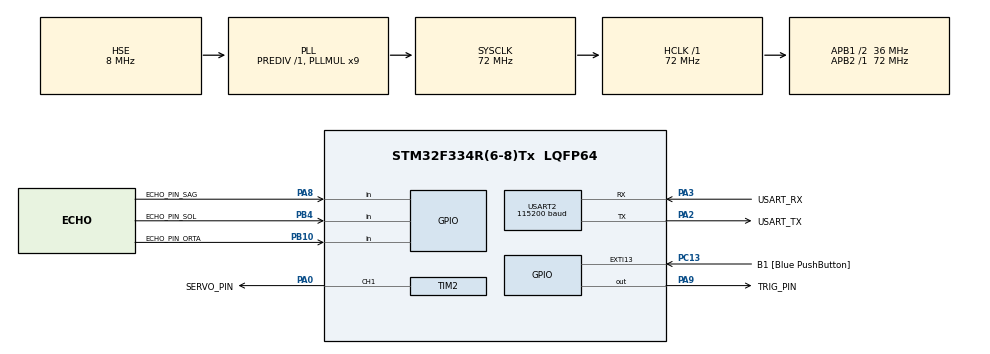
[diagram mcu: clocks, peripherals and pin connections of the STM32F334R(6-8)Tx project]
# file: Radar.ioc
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Mcu.Family=STM32F3
Mcu.Name=STM32F334R(6-8)Tx
Mcu.Package=LQFP64
NVIC.PriorityGroup=NVIC_PRIORITYGROUP_0
PA0.GPIO_Label=SERVO_PIN
PA0.Signal=S_TIM2_CH1_ETR
PA13.GPIO_Label=TMS
PA13.Mode=Serial_Wire
PA13.Signal=SYS_JTMS-SWDIO
PA14.GPIO_Label=TCK
PA14.Mode=Serial_Wire
PA14.Signal=SYS_JTCK-SWCLK
PA2.GPIO_Label=USART_TX
PA2.Mode=Asynchronous
PA2.Signal=USART2_TX
PA3.GPIO_Label=USART_RX
PA3.Mode=Asynchronous
PA3.Signal=USART2_RX
PA8.GPIO_Label=ECHO_PIN_SAG
PA8.GPIO_PuPd=GPIO_NOPULL
PA8.Signal=GPIO_Input
PA9.GPIO_Label=TRIG_PIN
PA9.Signal=GPIO_Output
PB10.GPIO_Label=ECHO_PIN_ORTA
PB10.Signal=GPIO_Input
PB3.GPIO_Label=SWO
PB3.Signal=SYS_JTDO-TRACESWO
PB4.GPIO_Label=ECHO_PIN_SOL
PB4.Signal=GPIO_Input
PC13.GPIO_Label=B1 [Blue PushButton]
PC13.GPIO_ModeDefaultEXTI=GPIO_MODE_IT_FALLING
PC13.Signal=GPXTI13
PC14\ /\ OSC32_IN.Mode=LSE-External-Oscillator
PC14\ /\ OSC32_IN.Signal=RCC_OSC32_IN
PC15\ /\ OSC32_OUT.GPIO_Label=RCC_OSC32_OUT
PC15\ /\ OSC32_OUT.Mode=LSE-External-Oscillator
PC15\ /\ OSC32_OUT.Signal=RCC_OSC32_OUT
PF0\ /\ OSC_IN.Mode=HSE-External-Clock-Source
PF0\ /\ OSC_IN.Signal=RCC_OSC_IN
PF1\ /\ OSC_OUT.Signal=RCC_OSC_OUT
ProjectManager.HeapSize=0x200
ProjectManager.StackSize=0x400
ProjectManager.TargetToolchain=CMake
RCC.AHBFreq_Value=72000000
RCC.APB1CLKDivider=RCC_HCLK_DIV2
RCC.APB1Freq_Value=36000000
RCC.APB1TimFreq_Value=72000000
RCC.APB2Freq_Value=72000000
RCC.APB2TimFreq_Value=72000000
RCC.CortexFreq_Value=72000000
RCC.FLatency-AdvancedSettings=FLASH_LATENCY_2
RCC.HCLKFreq_Value=72000000
RCC.HSE_VALUE=8000000
RCC.HSI_VALUE=8000000
RCC.PLLMUL=RCC_PLL_MUL9
RCC.PLLSourceVirtual=RCC_PLLSOURCE_HSE
RCC.SYSCLKFreq_VALUE=72000000
RCC.SYSCLKSourceVirtual=RCC_SYSCLKSOURCE_PLLCLK
SH.S_TIM2_CH1_ETR.0=TIM2_CH1,PWM Generation1 CH1
TIM1.Prescaler=71
TIM2.AutoReloadPreload=TIM_AUTORELOAD_PRELOAD_ENABLE
TIM2.Channel-PWM\ Generation1\ CH1=TIM_CHANNEL_1
TIM2.Period=19999
TIM2.Prescaler=71
TIM2.Pulse-PWM\ Generation1\ CH1=500
USART2.BaudRate=115200
USART2.VirtualMode-Asynchronous=VM_ASYNC
VP_TIM1_VS_ClockSourceINT.Mode=Internal
VP_TIM2_VS_ClockSourceINT.Mode=Internal
board=NUCLEO-F334R8

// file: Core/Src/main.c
/* USER CODE BEGIN Header */
/**
  ******************************************************************************
  * @file           : main.c
  * @brief          : Main program body
  ******************************************************************************
  * @attention
  *
  * Copyright (c) 2026 STMicroelectronics.
  * All rights reserved.
  *
  * This software is licensed under terms that can be found in the LICENSE file
  * in the root directory of this software component.
  * If no LICENSE file comes with this software, it is provided AS-IS.
  *
  ******************************************************************************
  */
/* USER CODE END Header */
#include "main.h"
#include "tim.h"
#include "usart.h"
#include "gpio.h"

/* USER CODE BEGIN Includes */
#include <stdio.h>
/* USER CODE END Includes */

/* USER CODE BEGIN PV */
uint16_t dist_sol, dist_orta, dist_sag;
int servo_pwm = 500;       // Başlangıç PWM (0 derece)
int servo_step = 20;       // Tarama hassasiyeti ve hızı
int servo_angle = 0;       // Bilgisayara gönderilecek açı
char uart_buf[64];         // UART gönderim tamponu
/* USER CODE END PV */

void SystemClock_Config(void);
/* USER CODE BEGIN PFP */
void delay_us(uint16_t us);
uint16_t get_distance(GPIO_TypeDef* trig_port, uint16_t trig_pin, GPIO_TypeDef* echo_port, uint16_t echo_pin);
/* USER CODE END PFP */

int main(void)
{

  /* MCU Configuration--------------------------------------------------------*/

  /* Reset of all peripherals, Initializes the Flash interface and the Systick. */
  HAL_Init();

  /* Configure the system clock */
  SystemClock_Config();

  /* Initialize all configured peripherals */
  MX_GPIO_Init();
  MX_TIM1_Init();
  MX_USART2_UART_Init();
  MX_TIM2_Init();
  /* USER CODE BEGIN 2 */

  // Timer'ları Başlat
  HAL_TIM_Base_Start(&htim1);                  // Mikrosaniye sayacı için (Sensörler)
  HAL_TIM_PWM_Start(&htim2, TIM_CHANNEL_1);    // PWM sinyali için (Servo Motor)

  // Servoyu başlangıç konumuna (0 derece) al ve mekanik olarak gitmesi için bekle
  __HAL_TIM_SET_COMPARE(&htim2, TIM_CHANNEL_1, 500);
  HAL_Delay(500);

  /* USER CODE END 2 */

  /* Infinite loop */
  /* USER CODE BEGIN WHILE */
  while (1)
  {
    // 1. Servoyu yeni pozisyona sür
  __HAL_TIM_SET_COMPARE(&htim2, TIM_CHANNEL_1, servo_pwm);
  HAL_Delay(15); // Servonun o açıya mekanik olarak ulaşması için kısa bekleme

  // 2. Sensörleri sırayla oku
  dist_sol  = get_distance(TRIG_PIN_GPIO_Port, TRIG_PIN_Pin, ECHO_PIN_SOL_GPIO_Port, ECHO_PIN_SOL_Pin);
  HAL_Delay(10); // Sensör dalgaları karışmasın diye akustik bekleme

  dist_orta = get_distance(TRIG_PIN_GPIO_Port, TRIG_PIN_Pin, ECHO_PIN_ORTA_GPIO_Port, ECHO_PIN_ORTA_Pin);
  HAL_Delay(10);

  dist_sag  = get_distance(TRIG_PIN_GPIO_Port, TRIG_PIN_Pin, ECHO_PIN_SAG_GPIO_Port, ECHO_PIN_SAG_Pin);

  // 3. Mevcut PWM değerini Açıya (0-180 derece) dönüştür
  servo_angle = (servo_pwm - 500) * 180 / 2000;

  // 4. Veriyi Paketle (Format: "Aci,Sol,Orta,Sag\n")
  int len = snprintf(uart_buf, sizeof(uart_buf), "%d,%d,%d,%d\n", servo_angle, dist_sol, dist_orta, dist_sag);

  // 5. Bilgisayara Gönder (100ms Timeout süresi ile güvenli gönderim)
  HAL_UART_Transmit(&huart2, (uint8_t*)uart_buf, len, 100);

  // 6. Tarama Yönünü ve Limitlerini Güncelle
  servo_pwm += servo_step;

  // 500 (0 derece) ve 2500 (180 derece) sınırlarına çarpınca yön değiştir
  if (servo_pwm >= 2500 || servo_pwm <= 500) {
      servo_step = -servo_step;
  }

    /* USER CODE END WHILE */

  }
}

void SystemClock_Config(void)
{
  RCC_OscInitTypeDef RCC_OscInitStruct = {0};
  RCC_ClkInitTypeDef RCC_ClkInitStruct = {0};
  RCC_PeriphCLKInitTypeDef PeriphClkInit = {0};

  /** Initializes the RCC Oscillators according to the specified parameters
  * in the RCC_OscInitTypeDef structure.
  */
  RCC_OscInitStruct.OscillatorType = RCC_OSCILLATORTYPE_HSE;
  RCC_OscInitStruct.HSEState = RCC_HSE_BYPASS;
  RCC_OscInitStruct.HSEPredivValue = RCC_HSE_PREDIV_DIV1;
  RCC_OscInitStruct.HSIState = RCC_HSI_ON;
  RCC_OscInitStruct.PLL.PLLState = RCC_PLL_ON;
  RCC_OscInitStruct.PLL.PLLSource = RCC_PLLSOURCE_HSE;
  RCC_OscInitStruct.PLL.PLLMUL = RCC_PLL_MUL9;
  if (HAL_RCC_OscConfig(&RCC_OscInitStruct) != HAL_OK)
  {
    Error_Handler();
  }

  /** Initializes the CPU, AHB and APB buses clocks
  */
  RCC_ClkInitStruct.ClockType = RCC_CLOCKTYPE_HCLK|RCC_CLOCKTYPE_SYSCLK
                              |RCC_CLOCKTYPE_PCLK1|RCC_CLOCKTYPE_PCLK2;
  RCC_ClkInitStruct.SYSCLKSource = RCC_SYSCLKSOURCE_PLLCLK;
  RCC_ClkInitStruct.AHBCLKDivider = RCC_SYSCLK_DIV1;
  RCC_ClkInitStruct.APB1CLKDivider = RCC_HCLK_DIV2;
  RCC_ClkInitStruct.APB2CLKDivider = RCC_HCLK_DIV1;

  if (HAL_RCC_ClockConfig(&RCC_ClkInitStruct, FLASH_LATENCY_2) != HAL_OK)
  {
    Error_Handler();
  }
  PeriphClkInit.PeriphClockSelection = RCC_PERIPHCLK_TIM1;
  PeriphClkInit.Tim1ClockSelection = RCC_TIM1CLK_HCLK;
  if (HAL_RCCEx_PeriphCLKConfig(&PeriphClkInit) != HAL_OK)
  {
    Error_Handler();
  }
}

/* USER CODE BEGIN 4 */
void delay_us(uint16_t us) {
    __HAL_TIM_SET_COUNTER(&htim1, 0);
    while (__HAL_TIM_GET_COUNTER(&htim1) < us);
}

uint16_t get_distance(GPIO_TypeDef* trig_port, uint16_t trig_pin, GPIO_TypeDef* echo_port, uint16_t echo_pin) {
    uint32_t timeout_counter = 0;
    uint32_t echo_time = 0;
    uint16_t calculated_distance = 0;

    HAL_GPIO_WritePin(trig_port, trig_pin, GPIO_PIN_SET);
    delay_us(10);
    HAL_GPIO_WritePin(trig_port, trig_pin, GPIO_PIN_RESET);

    timeout_counter = 50000;
    while (!(HAL_GPIO_ReadPin(echo_port, echo_pin))) {
        timeout_counter--;
        if (timeout_counter == 0) return 0;
    }

    __HAL_TIM_SET_COUNTER(&htim1, 0);

    timeout_counter = 50000;
    while (HAL_GPIO_ReadPin(echo_port, echo_pin)) {
        timeout_counter--;
        if (timeout_counter == 0) return 400;
    }

    echo_time = __HAL_TIM_GET_COUNTER(&htim1);

    calculated_distance = echo_time * 0.034 / 2;
    if (calculated_distance > 400) return 400;

    return calculated_distance;
}

/* USER CODE END 4 */

void Error_Handler(void)
{
  __disable_irq();
  while (1)
  {
  }
}
